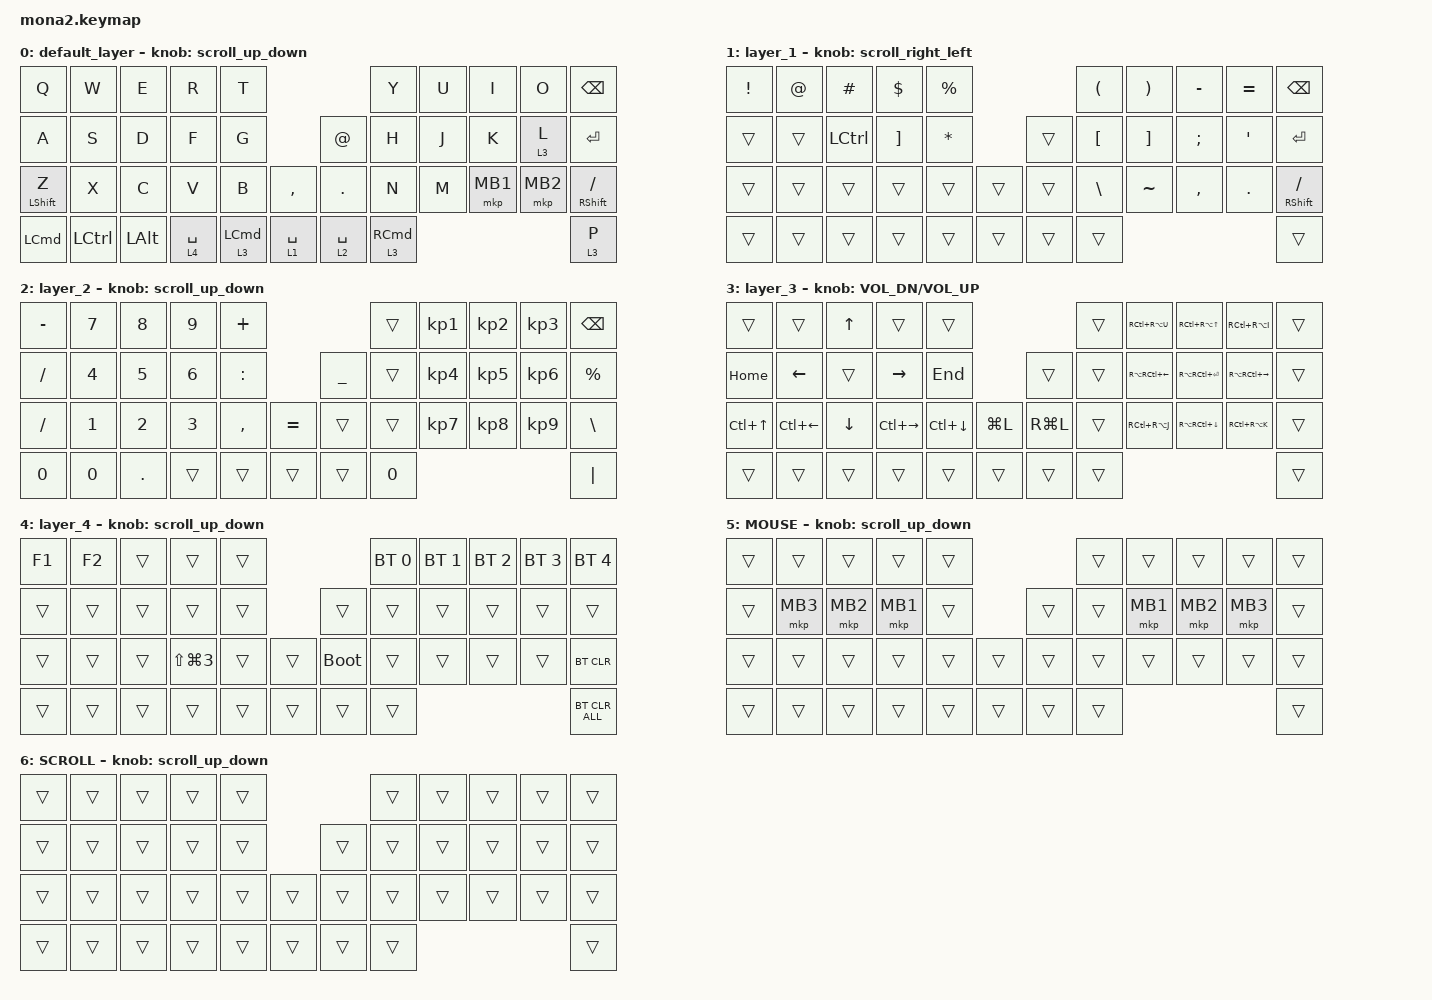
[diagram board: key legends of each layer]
#include <input/processors.dtsi>
#include <dt-bindings/zmk/input_transform.h>
#include <zephyr/dt-bindings/input/input-event-codes.h>
#include <behaviors.dtsi>
#include <dt-bindings/zmk/bt.h>
#include <dt-bindings/zmk/keys.h>
#include <dt-bindings/zmk/pointing.h>

#define ZMK_POINTING_DEFAULT_SCRL_VAL 100
#define MOUSE 5
#define SCROLL 6

&mt {
    flavor = "balanced";
    quick-tap-ms = <0>;
};

&lt {
    quick-tap-ms = <300>;
    flavor = "balanced";
};

/ {
    combos {
        compatible = "zmk,combos";

        esc {
            bindings = <&kp ESC>;
            key-positions = <0 1>;
        };

        tab {
            bindings = <&kp TAB>;
            key-positions = <2 1>;
        };
    };

    macros {
        to_layer_0: to_layer_0 {
            compatible = "zmk,behavior-macro-one-param";
            #binding-cells = <1>;
            bindings = <&to 0 &macro_param_1to1 &kp MACRO_PLACEHOLDER>;
            label = "TO_LAYER_0";
        };
    };

    behaviors {
        lt_to_layer_0: lt_to_layer_0 {
            compatible = "zmk,behavior-hold-tap";
            label = "LAYER_TAP_TO_0";
            bindings = <&mo>, <&to_layer_0>;

            #binding-cells = <2>;
            tapping-term-ms = <200>;
        };

        scroll_up_down: mouse_wheel_up_down {
            compatible = "zmk,behavior-sensor-rotate";
            #sensor-binding-cells = <0>;
            bindings = <&msc SCRL_UP>, <&msc SCRL_DOWN>;

            tap-ms = <20>;
        };

        scroll_right_left: mouse_wheel_right_left {
            compatible = "zmk,behavior-sensor-rotate";
            #sensor-binding-cells = <0>;
            bindings = <&msc SCRL_LEFT>, <&msc SCRL_RIGHT>;

            tap-ms = <20>;
        };
    };

    keymap {
        compatible = "zmk,keymap";

        default_layer {
            bindings = <
&kp Q             &kp W             &kp E         &kp R        &kp T                                                                 &kp Y                &kp U  &kp I     &kp O     &kp BACKSPACE
&kp A             &kp S             &kp D         &kp F        &kp G                                         &kp AT                  &kp H                &kp J  &kp K     &lt 3 L   &kp ENTER
&mt LEFT_SHIFT Z  &kp X             &kp C         &kp V        &kp B               &kp COMMA                 &kp DOT                 &kp N                &kp M  &mkp MB1  &mkp MB2  &mt RIGHT_SHIFT SLASH
&kp LEFT_COMMAND  &kp LEFT_CONTROL  &kp LEFT_ALT  &lt 4 SPACE  &lt 3 LEFT_COMMAND  &lt_to_layer_0 1 SPACE    &lt_to_layer_0 2 SPACE  &lt 3 RIGHT_COMMAND                             &lt 3 P
            >;

            sensor-bindings = <&scroll_up_down>;
        };

        layer_1 {
            bindings = <
&kp EXCLAMATION  &kp AT_SIGN  &kp HASH          &kp DOLLAR         &kp PERCENT                    &kp LEFT_PARENTHESIS  &kp RIGHT_PARENTHESIS  &kp MINUS      &kp EQUAL   &kp BACKSPACE
&trans           &trans       &kp LEFT_CONTROL  &kp RIGHT_BRACKET  &kp ASTRK              &trans  &kp LEFT_BRACKET      &kp RIGHT_BRACKET      &kp SEMICOLON  &kp SQT     &kp ENTER
&trans           &trans       &trans            &trans             &trans       &trans    &trans  &kp BACKSLASH         &kp TILDE              &kp COMMA      &kp PERIOD  &mt RIGHT_SHIFT SLASH
&trans           &trans       &trans            &trans             &trans       &trans    &trans  &trans                                                                  &trans
            >;

            sensor-bindings = <&scroll_right_left>;
        };

        layer_2 {
            bindings = <
&kp MINUS  &kp N7        &kp N8        &kp N9        &kp PLUS                                &trans  &kp KP_NUMBER_1  &kp KP_NUMBER_2  &kp KP_NUMBER_3  &kp BACKSPACE
&kp SLASH  &kp NUMBER_4  &kp N5        &kp NUMBER_6  &kp COLON               &kp UNDERSCORE  &trans  &kp KP_NUMBER_4  &kp KP_NUMBER_5  &kp KP_NUMBER_6  &kp PERCENT
&kp SLASH  &kp NUMBER_1  &kp NUMBER_2  &kp NUMBER_3  &kp COMMA  &kp EQUAL    &trans          &trans  &kp KP_NUMBER_7  &kp KP_NUMBER_8  &kp KP_NUMBER_9  &kp BACKSLASH
&kp N0     &kp N0        &kp PERIOD    &trans        &trans     &trans       &trans          &kp N0                                                     &kp PIPE
            >;

            sensor-bindings = <&scroll_up_down>;
        };

        layer_3 {
            bindings = <
&trans            &trans              &kp UP_ARROW    &trans               &trans                                      &trans  &kp RC(RA(U))           &kp RC(RA(UP_ARROW))    &kp RC(RA(I))            &trans
&kp HOME          &kp LEFT_ARROW      &trans          &kp RIGHT_ARROW      &kp END                          &trans     &trans  &kp RA(RC(LEFT_ARROW))  &kp RA(RC(ENTER))       &kp RA(RC(RIGHT_ARROW))  &trans
&kp LC(UP_ARROW)  &kp LC(LEFT_ARROW)  &kp DOWN_ARROW  &kp LC(RIGHT_ARROW)  &kp LC(DOWN_ARROW)  &kp LG(L)    &kp RG(L)  &trans  &kp RC(RA(J))           &kp RA(RC(DOWN_ARROW))  &kp RC(RA(K))            &trans
&trans            &trans              &trans          &trans               &trans              &trans       &trans     &trans                                                                           &trans
            >;

            sensor-bindings = <&inc_dec_kp C_VOL_DN C_VOL_UP>;
        };

        layer_4 {
            bindings = <
&kp F1  &kp F2  &trans  &trans                &trans                         &bt BT_SEL 0  &bt BT_SEL 1  &bt BT_SEL 2  &bt BT_SEL 3  &bt BT_SEL 4
&trans  &trans  &trans  &trans                &trans            &trans       &trans        &trans        &trans        &trans        &trans
&trans  &trans  &trans  &kp LS(LG(NUMBER_3))  &trans  &trans    &bootloader  &trans        &trans        &trans        &trans        &bt BT_CLR
&trans  &trans  &trans  &trans                &trans  &trans    &trans       &trans                                                  &bt BT_CLR_ALL
            >;

            sensor-bindings = <&scroll_up_down>;
        };

        MOUSE {
            bindings = <
&trans  &trans    &trans    &trans    &trans                    &trans  &trans    &trans    &trans    &trans
&trans  &mkp MB3  &mkp MB2  &mkp MB1  &trans            &trans  &trans  &mkp MB1  &mkp MB2  &mkp MB3  &trans
&trans  &trans    &trans    &trans    &trans  &trans    &trans  &trans  &trans    &trans    &trans    &trans
&trans  &trans    &trans    &trans    &trans  &trans    &trans  &trans                                &trans
            >;

            sensor-bindings = <&scroll_up_down>;
        };

        SCROLL {
            bindings = <
&trans  &trans  &trans  &trans  &trans                    &trans  &trans  &trans  &trans  &trans
&trans  &trans  &trans  &trans  &trans            &trans  &trans  &trans  &trans  &trans  &trans
&trans  &trans  &trans  &trans  &trans  &trans    &trans  &trans  &trans  &trans  &trans  &trans
&trans  &trans  &trans  &trans  &trans  &trans    &trans  &trans                          &trans
            >;

            sensor-bindings = <&scroll_up_down>;
        };
    };
};
